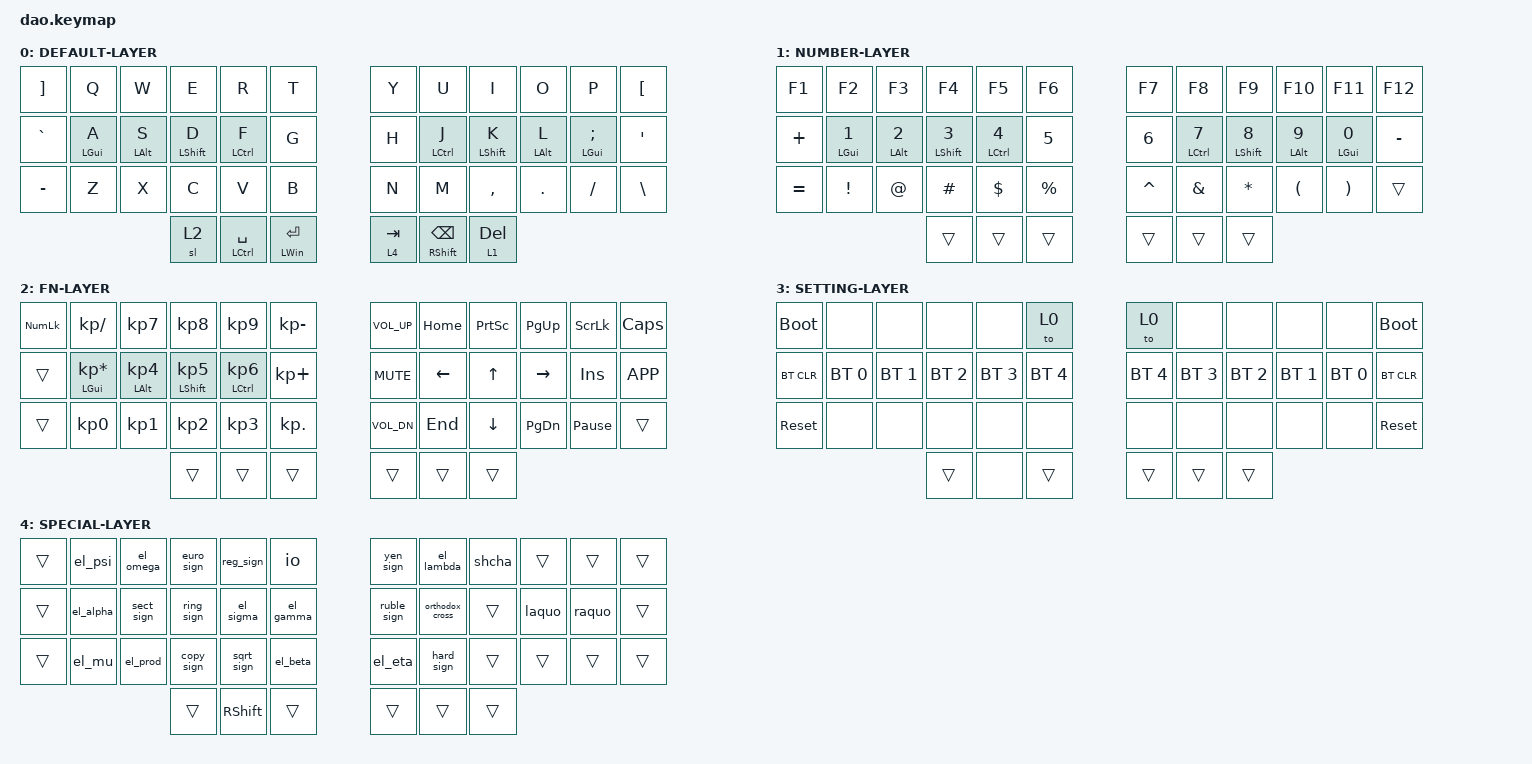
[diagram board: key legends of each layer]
#include <behaviors.dtsi>

#define HOST_OS 1

#include "../zmk-nodefree-config/helper.h"
#include "../zmk-nodefree-config/international_chars/greek.dtsi"
#include "../zmk-nodefree-config/international_chars/french.dtsi"
#include <dt-bindings/zmk/bt.h>
#include <dt-bindings/zmk/keys.h>

#define DEF 0
#define LWR 1
#define RSE 2
#define ADJ 3

// BUG Это всё не работает если стоит русская раскладка.

ZMK_UNICODE_SINGLE(el_prod,   N0, N0,  D, N7) // ×
ZMK_UNICODE_SINGLE(dotdotdot, N2, N0, N2, N6) // …
ZMK_UNICODE_PAIR(hard_sign,   N0, N4, N4,  A,   N0, N4, N2,  A) // Cyrillic Small Letter Hard Sign ъ
ZMK_UNICODE_PAIR(io,          N0, N4, N5, N1,   N0, N4, N0, N1) // Cyrillic Small Letter Io ё
ZMK_UNICODE_PAIR(shcha,       N0, N4, N4, N9,   N0, N4, N2, N9) // Cyrillic Capital Letter Shcha щ
ZMK_UNICODE_SINGLE(orthodox_cross, N2, N6, N2, N6) // Orthodox Cross ☦
ZMK_UNICODE_SINGLE(laquo, N0, N0,  A,  B) // Left-Pointing Double Angle Quotation Mark «
ZMK_UNICODE_SINGLE(raquo, N0, N0,  B,  B) // Right-Pointing Double Angle Quotation Mark »
ZMK_UNICODE_SINGLE(ruble_sign,  N2, N0,  B,  D) // Russian Ruble ₽
ZMK_UNICODE_SINGLE(yen_sign,    N0, N0,  A, N5) // Yen Sign ¥
ZMK_UNICODE_SINGLE(pound_sign,  N0, N0,  A, N3) // Pound Sign £
ZMK_UNICODE_SINGLE(euro_sign,   N0, N0,  E, N9) // Euro €
ZMK_UNICODE_SINGLE(sect_sign,  N0, N0,  A, N7) // Section Sign §
ZMK_UNICODE_SINGLE(reg_sign,   N0, N0,  A,  E) // Registered Sign ®
ZMK_UNICODE_SINGLE(copy_sign,  N0, N0,  A, N9) // Copyright Sign ©
ZMK_UNICODE_SINGLE(ring_sign,  N0, N2,  D,  A) // Ring Above ˚
ZMK_UNICODE_SINGLE(sqrt_sign,  N2, N2, N1,  A) // Square root √
&lt {
    quick_tap_ms = <200>;
};

&mt {
    quick_tap_ms = <200>;
};

/ {
    chosen {
        zmk,matrix_transform = &default_transform;

        // zmk,matrix_transform = &extra_keys_transform;
    };
};

/ {
    combos {
        compatible = "zmk,combos";

        LeftEscape {
            bindings = <&kp ESCAPE>;
            key-positions = <13 14>;
        };

        CtrlShiftTab {
            bindings = <&kp LC(LS(TAB))>;
            key-positions = <2 1>;
        };

        CtrlTab {
            bindings = <&kp LC(TAB)>;
            key-positions = <3 4>;
        };

        SystemLayout {
            bindings = <&tog 3>;
            key-positions = <15 16 19 20>;
        };
    };

    behaviors {
        hr: homerow_mods {
            compatible = "zmk,behavior-hold-tap";
            label = "HOMEROW_MODS";
            #binding-cells = <2>;
            flavor = "tap-preferred";
            tapping-term-ms = <300>;
            quick-tap-ms = <200>;
            bindings = <&kp>, <&kp>;
        };

        bmt: balanced_mod_tap {
            compatible = "zmk,behavior-hold-tap";
            label = "BALANCED_MOD_TABS";
            #binding-cells = <2>;
            flavor = "balanced";
            tapping-term-ms = <150>;
            quick-tap-ms = <300>;
            bindings = <&kp>, <&kp>;
        };
    };

    keymap {
        compatible = "zmk,keymap";

        DEFAULT-LAYER {
            bindings = <
&kp RBKT   &kp Q       &kp W       &kp E         &kp R             &kp T           &kp Y      &kp U                 &kp I         &kp O       &kp P               &kp LBKT
&kp GRAVE  &hr LGUI A  &hr LALT S  &hr LSHIFT D  &hr LCTRL F       &kp G           &kp H      &hr LCTRL J           &hr LSHIFT K  &hr LALT L  &hr LGUI SEMICOLON  &kp SQT
&kp MINUS  &kp Z       &kp X       &kp C         &kp V             &kp B           &kp N      &kp M                 &kp COMMA     &kp DOT     &kp FSLH            &kp BSLH
                                   &sl 2         &bmt LCTRL SPACE  &mt LWIN ENTER  &lt 4 TAB  &bmt RSHFT BACKSPACE  &lt 1 DEL
            >;
        };

        NUMBER-LAYER {
            bindings = <
&kp F1     &kp F2             &kp F3             &kp F4               &kp F5              &kp F6        &kp F7        &kp F8              &kp F9               &kp F10            &kp F11            &kp F12
&kp PLUS   &hr LGUI NUMBER_1  &hr LALT NUMBER_2  &hr LSHIFT NUMBER_3  &hr LCTRL NUMBER_4  &kp NUMBER_5  &kp NUMBER_6  &hr LCTRL NUMBER_7  &hr LSHIFT NUMBER_8  &hr LALT NUMBER_9  &hr LGUI NUMBER_0  &kp MINUS
&kp EQUAL  &kp EXCL           &kp AT             &kp HASH             &kp DLLR            &kp PRCNT     &kp CARET     &kp AMPS            &kp STAR             &kp LPAR           &kp RPAR           &trans
                                                 &trans               &trans              &trans        &trans        &trans              &trans
            >;
        };

        FN-LAYER {
            bindings = <
&kp KP_NUM  &kp KP_SLASH          &kp KP_N7       &kp KP_N8         &kp KP_N9        &kp KP_MINUS  &kp C_VOL_UP  &kp HOME  &kp PSCRN  &kp PG_UP  &kp SLCK         &kp CLCK
&trans      &hr LGUI KP_MULTIPLY  &hr LALT KP_N4  &hr LSHIFT KP_N5  &hr LCTRL KP_N6  &kp KP_PLUS   &kp C_MUTE    &kp LEFT  &kp UP     &kp RIGHT  &kp INS          &kp K_APP
&trans      &kp KP_N0             &kp KP_N1       &kp KP_N2         &kp KP_N3        &kp KP_DOT    &kp C_VOL_DN  &kp END   &kp DOWN   &kp PG_DN  &kp PAUSE_BREAK  &trans
                                                  &trans            &trans           &trans        &trans        &trans    &trans
            >;
        };

        SETTING-LAYER {
            bindings = <
&bootloader  &none         &none         &none         &none         &to 0         &to 0         &none         &none         &none         &none         &bootloader
&bt BT_CLR   &bt BT_SEL 0  &bt BT_SEL 1  &bt BT_SEL 2  &bt BT_SEL 3  &bt BT_SEL 4  &bt BT_SEL 4  &bt BT_SEL 3  &bt BT_SEL 2  &bt BT_SEL 1  &bt BT_SEL 0  &bt BT_CLR
&sys_reset   &none         &none         &none         &none         &none         &none         &none         &none         &none         &none         &sys_reset
                                         &trans        &none         &trans        &trans        &trans        &trans
            >;
        };

        SPECIAL-LAYER {
            bindings = <
&trans  &el_psi    &el_omega   &euro_sign  &reg_sign   &io        &yen_sign    &el_lambda       &shcha  &trans  &trans  &trans
&trans  &el_alpha  &sect_sign  &ring_sign  &el_sigma   &el_gamma  &ruble_sign  &orthodox_cross  &trans  &laquo  &raquo  &trans
&trans  &el_mu     &el_prod    &copy_sign  &sqrt_sign  &el_beta   &el_eta      &hard_sign       &trans  &trans  &trans  &trans
                               &trans      &kp RSHFT   &trans     &trans       &trans           &trans
            >;
        };
    };
};
